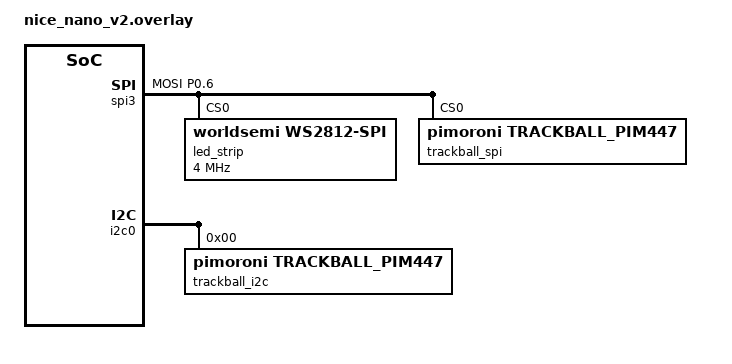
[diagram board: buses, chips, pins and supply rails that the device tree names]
#include <dt-bindings/led/led.h>

&pinctrl {
    spi3_default: spi3_default {
        group1 {
            psels = <NRF_PSEL(SPIM_MOSI, 0, 6)>;
        };
    };

    spi3_sleep: spi3_sleep {
        group1 {
            psels = <NRF_PSEL(SPIM_MOSI, 0, 6)>;
            low-power-enable;
        };
    };
};

&spi3 {
    compatible = "nordic,nrf-spim";
    status = "okay";

    pinctrl-0 = <&spi3_default>;
    pinctrl-1 = <&spi3_sleep>;
    pinctrl-names = "default", "sleep";

    led_strip: ws2812@0 {
        compatible = "worldsemi,ws2812-spi";

        /* SPI */
        reg = <0>; /* ignored, but necessary for SPI bindings */
        spi-max-frequency = <4000000>;

        /* WS2812 */
        chain-length = <10>; /* arbitrary; change at will */
        spi-one-frame = <0x70>;
        spi-zero-frame = <0x40>;

        color-mapping = <LED_COLOR_ID_GREEN LED_COLOR_ID_RED LED_COLOR_ID_BLUE>;
    };

    trackball_spi: trackball_pim447@0 {  // 레이블 변경
        compatible = "pimoroni,trackball_pim447";
        reg = <0x0>;
        /* 필요한 경우 추가 설정을 여기에 작성하세요 */
    };
};

&i2c0 {
    trackball_i2c: trackball_pim447@0 {  // 레이블 변경
        compatible = "pimoroni,trackball_pim447";
        reg = <0>;
        /* 추가 설정 필요 시 여기에 작성 */
    };
};

&led_strip {
    /* LED 스트립에 대한 추가 설정이 필요하다면 여기에 작성 */
};

/ {
    chosen {
        zmk,underglow = &led_strip;
    };
};
